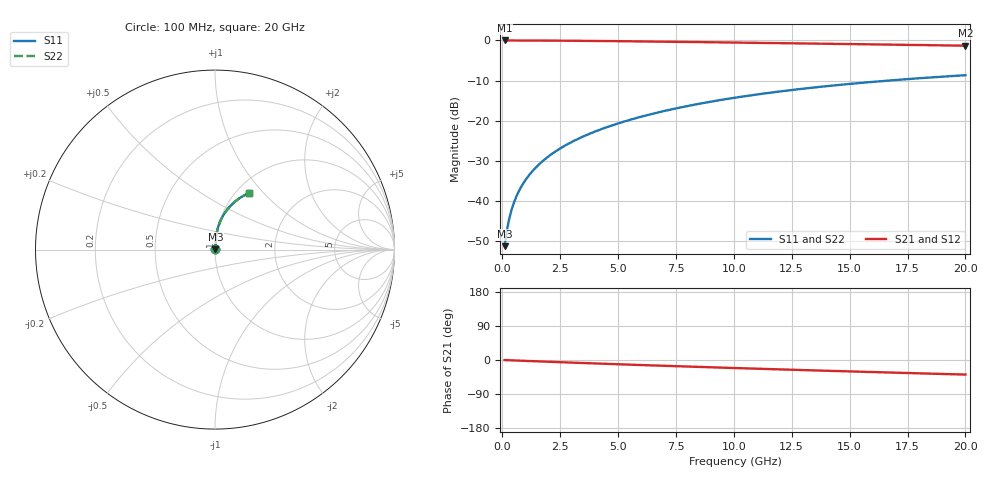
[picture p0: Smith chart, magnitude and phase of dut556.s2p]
! Touchstone file exported from HFSS 2024.1.0
!  File:  C:/UserFiles/LocalFiles/RDL_TSV_Batchsim/temp_RDL_top_556_1779681137.aedt
!  Generated:  11:54:28 AM May 25, 2026
!  Design:  RDL_top
!  Project:  temp_RDL_top_556_1779681137
!  Setup:  Setup1
!  Solution:  Sweep
! Variables:
!  dtsv = 10.80580581um
!  hbump = 3um
!  htsv = 90.48um
!  ldown = 100um
!  lrdl = 513.58um
!  p = 40
!  p1 = 58.55um
!  rhole = 1um
!  t = 450um
!  tdown = 3.915915916um
!  trdl = 4.57um
!  wdown = 15.38538539um
!  wrdl = 22.63um
# GHz S MA R 50.000000
! Terminal data exported
! Port[1] = Box2_T1
! Port[2] = Box2_T2
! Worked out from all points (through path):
!   200 points, 100 MHz to 20 GHz, reference 50 ohm
!   highest |S21| = -0.02 dB at 100 MHz (marker M1); lowest = -1.3 dB at 20 GHz (marker M2)
!   group delay of S21, straight-line fit = 5.29 ps
!   lowest |S11| = -51.3 dB at 100 MHz (marker M3), VSWR 1.01, Z = 50.2 + j0.193 ohm
!   |S11| at or under -10 dB: start of sweep to 16.71 GHz
!   |S22| runs from -51.3 to -8.7 dB; largest |S21 - S12| = 2e-15
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0.1  0.002725 45.0  0.9981 -0.2  0.9981 -0.2  0.002725 45.0
! Gamma 0 0 0 0
! Port Impedance 50 0 50 0
0.2  0.004312 62.0  0.9979 -0.5  0.9979 -0.5  0.004312 62.0
0.3  0.006022 69.2  0.9978 -0.7  0.9978 -0.7  0.006022 69.2
0.4  0.007745 73.1  0.9976 -1.0  0.9976 -1.0  0.007745 73.1
0.5  0.009468 75.7  0.9975 -1.2  0.9975 -1.2  0.009467 75.7
0.7  0.01292 79.0  0.9972 -1.6  0.9972 -1.6  0.01292 79.0
0.8  0.01466 80.1  0.997 -1.9  0.997 -1.9  0.01466 80.1
1  0.01815 81.6  0.9966 -2.3  0.9966 -2.3  0.01815 81.6
1.2  0.02166 82.7  0.9962 -2.8  0.9962 -2.8  0.02166 82.7
1.4  0.0252 83.5  0.9957 -3.3  0.9957 -3.3  0.0252 83.5
1.7  0.03054 84.3  0.9949 -4.0  0.9949 -4.0  0.03054 84.3
2  0.03593 84.8  0.9939 -4.6  0.9939 -4.6  0.03593 84.8
2.7  0.04868 85.3  0.991 -6.2  0.991 -6.2  0.04869 85.3
3.5  0.06356 85.2  0.987 -8.0  0.987 -8.0  0.06357 85.2
4.2  0.07685 84.9  0.9829 -9.5  0.9829 -9.5  0.07686 84.9
5  0.09232 84.2  0.9778 -11.2  0.9778 -11.2  0.09233 84.2
6.8  0.128 82.0  0.965 -15.0  0.965 -15.0  0.128 82.0
8.4  0.1601 79.6  0.9529 -18.1  0.9529 -18.1  0.1601 79.6
10.1  0.1941 76.6  0.9396 -21.3  0.9396 -21.3  0.1941 76.6
13.4  0.2576 70.6  0.9131 -27.4  0.9131 -27.4  0.2577 70.6
16.7  0.316 64.6  0.886 -33.0  0.886 -33.0  0.3161 64.6
20  0.3682 58.9  0.8589 -38.4  0.8589 -38.4  0.3683 58.9
